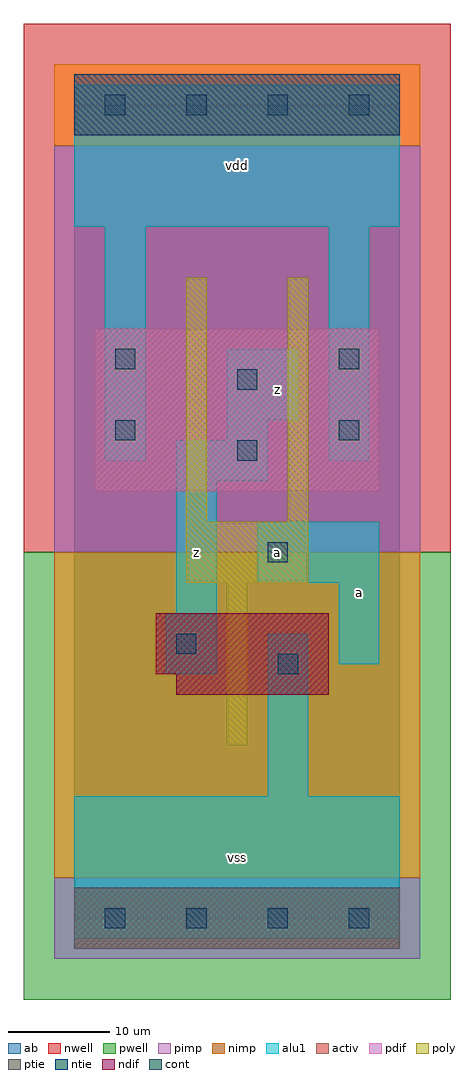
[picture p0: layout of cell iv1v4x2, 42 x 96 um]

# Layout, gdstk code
import gdstk
lib = gdstk.Library(unit=1e-6, precision=1e-09)
def R(c, l, rs):  # rectangles x0, y0, x1, y1
    for r in rs: c.add(gdstk.rectangle(r[:2], r[2:], *l))
def A(c, l, x, y, w, h, nx, ny, dx, dy):  # array of equal rectangles
    R(c, l, [(x+i*dx, y+j*dy, x+i*dx+w, y+j*dy+h) for i in range(nx) for j in range(ny)])
ndif = (3, 0)
pdif = (4, 0)
ntie = (5, 0)
ptie = (6, 0)
cont = (25, 0)
pwell = (41, 0)
nwell = (42, 0)
activ = (43, 0)
pimp = (44, 0)
nimp = (45, 0)
poly = (46, 0)
alu1 = (49, 0)
ab = (63, 0)

iv1v4x2 = lib.new_cell('iv1v4x2')
R(iv1v4x2, ndif, [(10,22,25,24), (8,24,25,30)])
R(iv1v4x2, pdif, [(2,42,30,58)])
R(iv1v4x2, ntie, [(0,77,32,83)])
R(iv1v4x2, ptie, [(0,-3,32,3)])
A(iv1v4x2, cont, 3, -1, 2, 2, 4, 2, 8, 80)
R(iv1v4x2, cont, [(20,24,22,26), (10,26,12,28), (19,35,21,37), (16,45,18,47), (4,47,6,49), (26,47,28,49), (16,52,18,54), (4,54,6,56), (26,54,28,56)])
R(iv1v4x2, pwell, [(-5,-8,37,36)])
R(iv1v4x2, nwell, [(-5,36,37,88)])
R(iv1v4x2, activ, [(0,-3,32,3), (10,22,25,24), (8,24,25,30), (2,42,30,58), (0,77,32,83)])
R(iv1v4x2, pimp, [(-2,-4,34,4), (-2,36,34,76)])
R(iv1v4x2, nimp, [(-2,4,34,36), (-2,76,34,84)])
R(iv1v4x2, poly, [(15,17,17,33), (11,33,23,39), (11,39,13,63), (21,39,23,63)])
R(iv1v4x2, alu1, [(0,-2,32,12), (19,12,23,28), (9,24,14,30), (26,25,30,33), (10,30,14,43), (18,33,30,39), (10,43,19,47), (3,45,7,68), (25,45,29,68), (15,47,19,49), (15,49,22,56), (0,68,32,82)])
R(iv1v4x2, ab, [(0,0,32,80)])
iv1v4x2.add(gdstk.Label('z', (12,36), layer=49, texttype=0))
iv1v4x2.add(gdstk.Label('vss', (16,6), layer=49, texttype=0))
iv1v4x2.add(gdstk.Label('a', (20,36), layer=49, texttype=0))
iv1v4x2.add(gdstk.Label('z', (20,52), layer=49, texttype=0))
iv1v4x2.add(gdstk.Label('vdd', (16,74), layer=49, texttype=0))
iv1v4x2.add(gdstk.Label('a', (28,32), layer=49, texttype=0))

lib.write_gds('iv1v4x2.gds')
